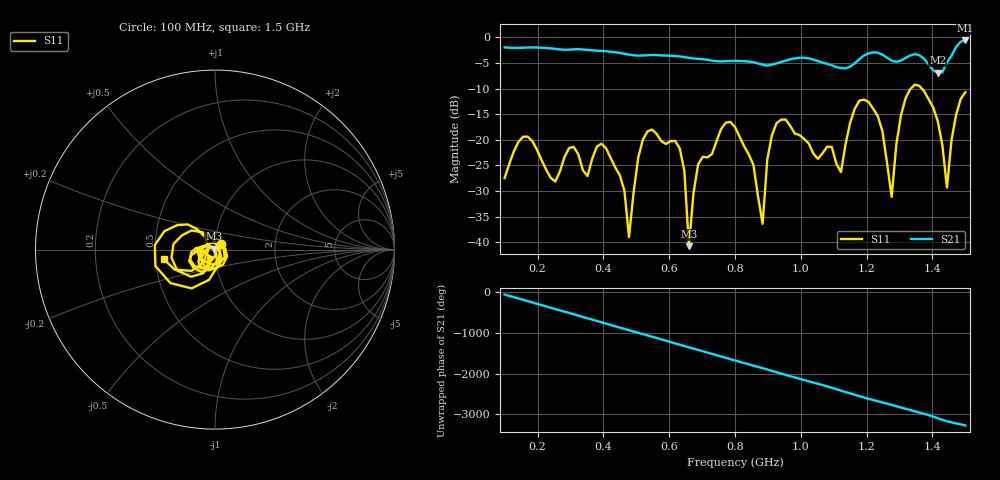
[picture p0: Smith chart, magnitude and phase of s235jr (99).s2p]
! NanoVNA-App
! Date: 2025-09-25 15:04:56
! Start: 100MHz Stop: 1,5GHz Points: 101
! S-Parameter data: F S11 S21 S12 S22
# Hz S RI R 50
!  Frequency  S11_Real  S11_Imag  S21_Real  S21_Imag  S12_Real  S12_Imag  S22_Real  S22_Imag
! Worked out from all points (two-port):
!   101 points, 100 MHz to 1.5 GHz, reference 50 ohm
!   highest |S21| = -0.62 dB at 1.5 GHz (marker M1); lowest = -6.9 dB at 1.416 GHz (marker M2)
!   |S21| within 3 dB of the highest: start of sweep to 605.7 MHz; 1.191 GHz to 1.253 GHz (62.45 MHz wide, 5.11 % of centre) (the widest 2 of 4)
!   lowest |S11| = -40.8 dB at 660 MHz (marker M3), VSWR 1.02, Z = 49.3 + j0.552 ohm
!   |S11| at or under -10 dB: start of sweep to 1.334 GHz; 1.367 GHz to end of sweep
!   S12 and S22 are empty: the file has one direction only
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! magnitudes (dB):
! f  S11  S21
! 100 MHz  -27.5  -2.0
! 156 MHz  -19.4  -2.0
! 338 MHz  -26.0  -2.4
! 408 MHz  -21.6  -2.7
! 478 MHz  -39.0  -3.4
! 520 MHz  -20.0  -3.5
! 576 MHz  -20.3  -3.5
! 632 MHz  -21.7  -3.7
! 660 MHz  -40.8  -4.0
! 688 MHz  -24.8  -4.2
! 800 MHz  -17.5  -4.6
! 884 MHz  -36.4  -5.4
! 898 MHz  -23.9  -5.5
! 926 MHz  -16.8  -5.1
! 1.038 GHz  -22.7  -4.4
! 1.122 GHz  -26.3  -6.0
! 1.206 GHz  -12.6  -3.2
! 1.276 GHz  -31.2  -4.6
! 1.332 GHz  -10.2  -3.6
! 1.416 GHz  -16.3  -6.9
! 1.444 GHz  -29.3  -4.9
! 1.5 GHz  -10.7  -0.6
